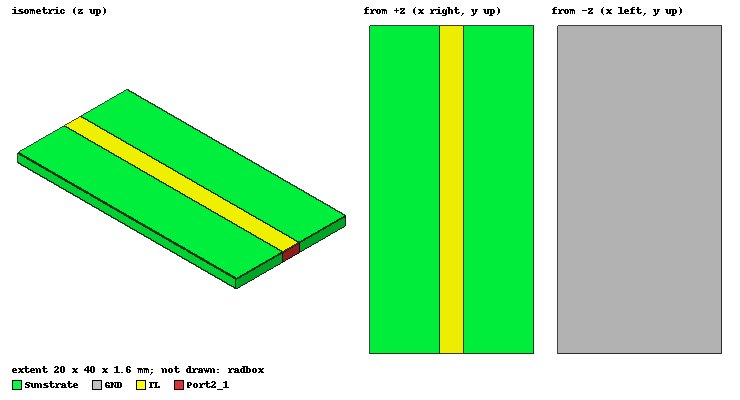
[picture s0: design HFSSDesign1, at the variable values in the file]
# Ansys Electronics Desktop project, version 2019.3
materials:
  vacuum: permittivity=1
  copper: permeability=0.999991 conductivity=58000000
  FR4_epoxy: permittivity=4.4 dielectric_loss_tangent=0.02
  air: permittivity=1.0006 permeability=1.0000004

design HFSSDesign1 (HFSS, DrivenModal, model units mm)
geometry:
  GND = rectangle(corner=(0mm, 0mm, 0mm), x_size=20mm, y_size=40mm)
  Sunstrate [FR4_epoxy] = box(corner=(0mm, 0mm, 0mm), size=(20mm, 40mm, 1.6mm))
  TL = rectangle(corner=((10-1.5) mm, 0mm, 1.6mm), x_size=3mm, y_size=40mm)
  Port1 = rectangle(corner=(8.5mm, 0mm, 1.6mm), z_size=-1.6mm, x_size=3mm)
  Port2_1 = rectangle(corner=(11.5mm, 40mm, 1.6mm), z_size=-1.6mm, x_size=-3mm)
  radbox [air] = box(corner=(-10mm, -10mm, -20mm), size=(40mm, 60mm, 40mm))
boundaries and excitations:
  PerfE1: Perfect E Objects=[GND, TL]
  Rad1: Radiation Objects=radbox
  1: Lumped Port Objects=Port1 Modes{Mode1{IntLine{middle of Port1.edge(z at corner) -> middle of Port1.edge(z opposite corner)} CharImp=Zpi RenormImp=50ohm}} Impedance=50ohm
  2: Lumped Port Objects=Port2_1 Modes{Mode1{IntLine{middle of Port2_1.edge(z at corner) -> middle of Port2_1.edge(z opposite corner)} CharImp=Zpi RenormImp=50ohm}} Impedance=50ohm
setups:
  Setup1: HfssDriven Frequency=5GHz MaxDeltaS=0.02 MaximumPasses=6 MinimumPasses=1 MinimumConvergedPasses=1 PercentRefinement=30 BasisOrder=1 PortAccuracy=2
    sweep Sweep: 1GHz to 20GHz, 401 points; Type=Fast SaveFields
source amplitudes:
  1:1: 1W 0deg
  2:1: 0W 0deg
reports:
  S Parameter Plot 1: dB(S(1,1)), dB(S(2,1)), dB(S(1,2)), dB(S(2,2)) vs Freq on Setup1 : Sweep
